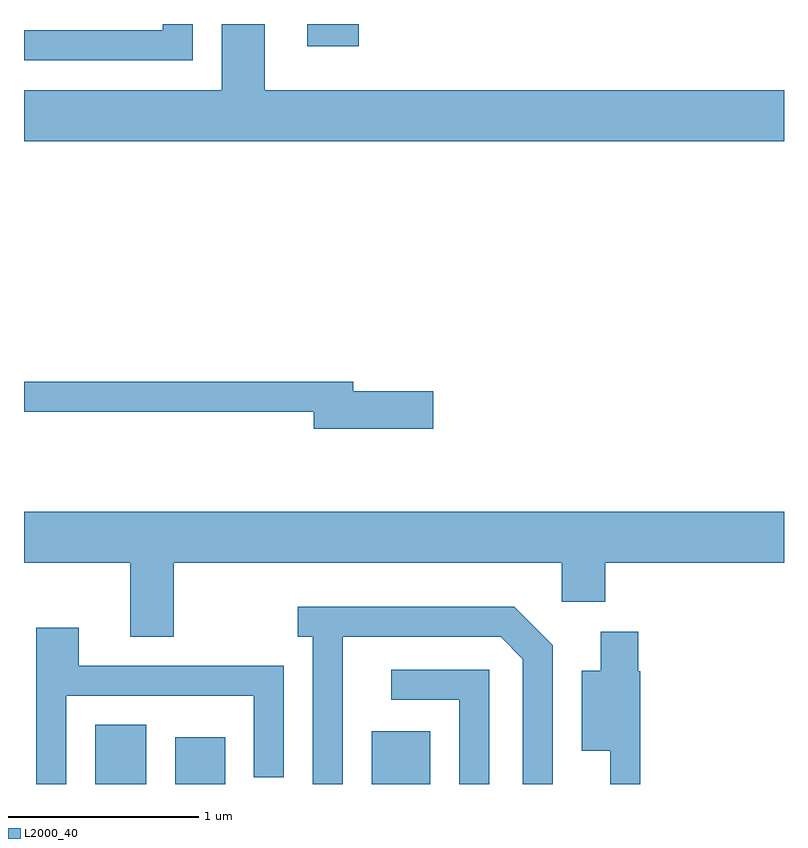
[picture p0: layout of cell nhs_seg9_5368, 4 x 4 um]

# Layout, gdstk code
import gdstk
lib = gdstk.Library(unit=1e-6, precision=1e-09)
def R(c, l, rs):  # rectangles x0, y0, x1, y1
    for r in rs: c.add(gdstk.rectangle(r[:2], r[2:], *l))
def P(c, l, *ps):  # polygons
    for p in ps: c.add(gdstk.Polygon(p, *l))
L2000_40 = (2000, 40)

nhs_seg9_5368 = lib.new_cell('nhs_seg9_5368')
R(nhs_seg9_5368, L2000_40, [(343.986,1988.432,344.254,1988.744), (344.406,1988.432,344.669,1988.679), (345.441,1988.432,345.749,1988.709), (345.103,1992.316,345.374,1992.432)])
P(nhs_seg9_5368, L2000_40, [(347.611,1992.084),(344.879,1992.084),(344.879,1992.432),(344.651,1992.432),(344.651,1992.084),(343.611,1992.084),(343.611,1991.816),(347.611,1991.816)],
  [(344.499,1992.432),(344.341,1992.432),(344.341,1992.399),(343.611,1992.399),(343.611,1992.241),(344.499,1992.241)],
  [(345.764,1990.499),(345.344,1990.499),(345.344,1990.549),(343.611,1990.549),(343.611,1990.391),(345.136,1990.391),(345.136,1990.301),(345.764,1990.301)],
  [(344.399,1989.596),(346.441,1989.596),(346.441,1989.391),(346.669,1989.391),(346.669,1989.596),(347.611,1989.596),(347.611,1989.864),(343.611,1989.864),(343.611,1989.596),(344.171,1989.596),(344.171,1989.206),(344.399,1989.206)],
  [(345.289,1989.206),(346.119,1989.206),(346.236,1989.089),(346.236,1988.432),(346.394,1988.432),(346.394,1989.162),(346.192,1989.364),(345.053,1989.364),(345.053,1989.206),(345.131,1989.206),(345.131,1988.432),(345.289,1988.432)],
  [(343.834,1988.896),(344.821,1988.896),(344.821,1988.468),(344.979,1988.468),(344.979,1989.054),(343.899,1989.054),(343.899,1989.254),(343.676,1989.254),(343.676,1988.432),(343.834,1988.432)],
  [(346.854,1989.025),(346.844,1989.025),(346.844,1989.234),(346.646,1989.234),(346.646,1989.029),(346.546,1989.029),(346.546,1988.606),(346.696,1988.606),(346.696,1988.432),(346.854,1988.432)],
  [(346.059,1989.034),(345.543,1989.034),(345.543,1988.876),(345.901,1988.876),(345.901,1988.432),(346.059,1988.432)])

lib.write_gds('nhs_seg9_5368.gds')
